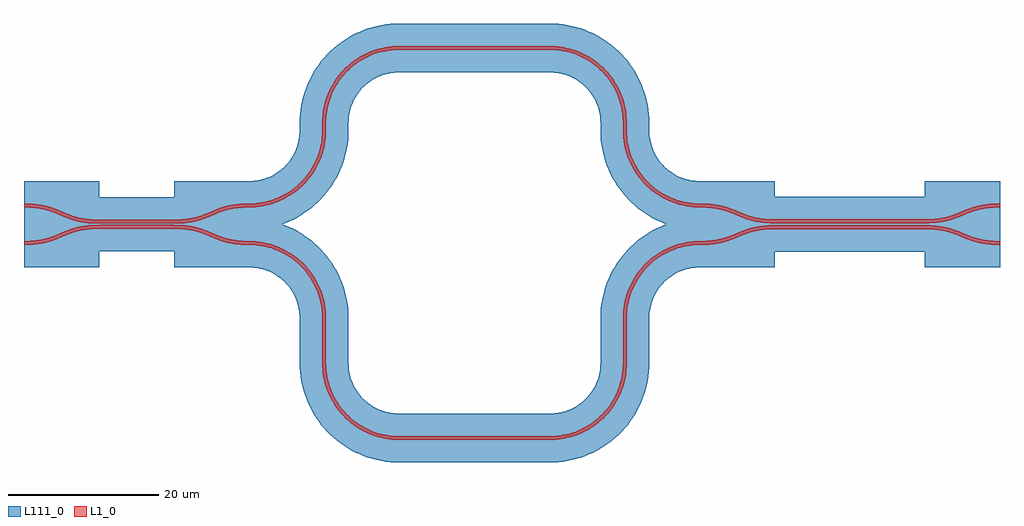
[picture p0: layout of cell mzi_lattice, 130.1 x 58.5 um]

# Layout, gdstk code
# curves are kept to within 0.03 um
import gdstk
lib = gdstk.Library(unit=1e-6, precision=1e-09)
def R(c, l, rs):  # rectangles x0, y0, x1, y1
    for r in rs: c.add(gdstk.rectangle(r[:2], r[2:], *l))
def P(c, l, *ps):  # polygons
    for p in ps: c.add(gdstk.Polygon(p, *l))
L1_0 = (1, 0)
L111_0 = (111, 0)

mzi_lattice = lib.new_cell('mzi_lattice')
R(mzi_lattice, L1_0, [(40,-28.15,60.1,-27.65), (29.75,-17.9,30.25,-12.9), (69.85,-17.9,70.35,-12.9), (29.75,-12.9,30.25,-11.9), (69.85,-12.9,70.35,-11.9), (90.1,-0.05,110.1,0.45), (0,0,10,0.5), (0,0.7,10,1.2), (90.1,0.75,110.1,1.25), (29.75,13.1,30.25,14.1), (69.85,13.1,70.35,14.1), (40,23.85,60.1,24.35)])
P(mzi_lattice, L1_0, [(110.1,1.25),(111.702,1.335),(113.054,1.582),(114.076,1.906),(116.288,2.783),(117.424,3.097),(118.691,3.288),(120.1,3.35),(120.1,2.85),(118.498,2.765),(117.146,2.518),(116.124,2.194),(113.912,1.317),(112.776,1.003),(111.509,0.812),(110.1,0.75)],
  [(110.1,-0.05),(111.702,-0.135),(113.054,-0.382),(114.076,-0.706),(116.288,-1.583),(117.424,-1.897),(118.691,-2.088),(120.1,-2.15),(120.1,-1.65),(118.498,-1.565),(117.146,-1.318),(116.124,-0.994),(113.912,-0.117),(112.776,0.197),(111.509,0.388),(110.1,0.45)],
  [(90.1,-0.05),(88.498,-0.135),(87.146,-0.382),(86.124,-0.706),(83.912,-1.583),(82.776,-1.897),(81.509,-2.088),(80.1,-2.15),(80.1,-1.65),(81.702,-1.565),(83.054,-1.318),(84.076,-0.994),(86.288,-0.117),(87.424,0.197),(88.691,0.388),(90.1,0.45)],
  [(90.1,1.25),(88.498,1.335),(87.146,1.582),(86.124,1.906),(83.912,2.783),(82.776,3.097),(81.509,3.288),(80.1,3.35),(80.1,2.85),(81.702,2.765),(83.054,2.518),(84.076,2.194),(86.288,1.317),(87.424,1.003),(88.691,0.812),(90.1,0.75)],
  [(29.75,13.1),(29.711,12.226),(29.593,11.359),(29.399,10.506),(29.128,9.674),(28.784,8.87),(28.37,8.099),(27.623,7.021),(27.047,6.362),(26.415,5.758),(25.731,5.212),(25.001,4.73),(24.23,4.316),(23.013,3.827),(22.17,3.594),(20.874,3.389),(20,3.35),(20,2.85),(20.919,2.891),(22.281,3.107),(23.167,3.352),(24.029,3.675),(24.857,4.074),(25.647,4.546),(26.391,5.086),(27.409,6.017),(28.014,6.709),(28.799,7.843),(29.425,9.071),(29.748,9.933),(29.993,10.819),(30.157,11.724),(30.25,13.1)],
  [(30.25,14.1),(30.289,14.974),(30.407,15.841),(30.601,16.694),(30.872,17.526),(31.216,18.33),(31.63,19.101),(32.377,20.179),(32.953,20.838),(33.585,21.442),(34.269,21.988),(34.999,22.47),(35.77,22.884),(36.987,23.373),(37.83,23.606),(39.126,23.811),(40,23.85),(40,24.35),(39.081,24.309),(37.719,24.093),(36.833,23.848),(35.971,23.525),(35.143,23.126),(34.353,22.654),(33.609,22.114),(32.591,21.183),(31.986,20.491),(31.201,19.357),(30.575,18.129),(30.252,17.267),(30.007,16.381),(29.843,15.476),(29.75,14.1)],
  [(60.1,23.85),(60.974,23.811),(61.841,23.693),(62.694,23.499),(63.526,23.228),(64.33,22.884),(65.101,22.47),(66.179,21.723),(66.838,21.147),(67.442,20.515),(67.988,19.831),(68.47,19.101),(68.884,18.33),(69.373,17.113),(69.606,16.27),(69.811,14.974),(69.85,14.1),(70.35,14.1),(70.309,15.019),(70.093,16.381),(69.848,17.267),(69.525,18.129),(69.126,18.957),(68.654,19.747),(68.114,20.491),(67.183,21.509),(66.491,22.114),(65.357,22.899),(64.129,23.525),(63.267,23.848),(62.381,24.093),(61.476,24.257),(60.1,24.35)],
  [(80.1,3.35),(79.226,3.389),(78.359,3.507),(77.506,3.701),(76.674,3.972),(75.87,4.316),(75.099,4.73),(74.021,5.477),(73.362,6.053),(72.758,6.685),(72.212,7.369),(71.73,8.099),(71.316,8.87),(70.827,10.087),(70.594,10.93),(70.389,12.226),(70.35,13.1),(69.85,13.1),(69.891,12.181),(70.107,10.819),(70.352,9.933),(70.675,9.071),(71.074,8.243),(71.546,7.453),(72.086,6.709),(73.017,5.691),(73.709,5.086),(74.843,4.301),(76.071,3.675),(76.933,3.352),(77.819,3.107),(78.724,2.943),(80.1,2.85)],
  [(20,-2.15),(20.874,-2.189),(21.741,-2.307),(22.594,-2.501),(23.426,-2.772),(24.23,-3.116),(25.001,-3.53),(26.079,-4.277),(26.738,-4.853),(27.342,-5.485),(27.888,-6.169),(28.37,-6.899),(28.784,-7.67),(29.273,-8.887),(29.506,-9.73),(29.711,-11.026),(29.75,-11.9),(30.25,-11.9),(30.209,-10.981),(29.993,-9.619),(29.748,-8.733),(29.425,-7.871),(29.026,-7.043),(28.554,-6.253),(28.014,-5.509),(27.083,-4.491),(26.391,-3.886),(25.257,-3.101),(24.029,-2.475),(23.167,-2.152),(22.281,-1.907),(21.376,-1.743),(20,-1.65)],
  [(40,-27.65),(39.126,-27.611),(38.259,-27.493),(37.406,-27.299),(36.574,-27.028),(35.77,-26.684),(34.999,-26.27),(33.921,-25.523),(33.262,-24.947),(32.658,-24.315),(32.112,-23.631),(31.63,-22.901),(31.216,-22.13),(30.727,-20.913),(30.494,-20.07),(30.289,-18.774),(30.25,-17.9),(29.75,-17.9),(29.791,-18.819),(30.007,-20.181),(30.252,-21.067),(30.575,-21.929),(30.974,-22.757),(31.446,-23.547),(31.986,-24.291),(32.917,-25.309),(33.609,-25.914),(34.743,-26.699),(35.971,-27.325),(36.833,-27.648),(37.719,-27.893),(38.624,-28.057),(40,-28.15)],
  [(69.85,-17.9),(69.811,-18.774),(69.693,-19.641),(69.499,-20.494),(69.228,-21.326),(68.884,-22.13),(68.47,-22.901),(67.723,-23.979),(67.147,-24.638),(66.515,-25.242),(65.831,-25.788),(65.101,-26.27),(64.33,-26.684),(63.113,-27.173),(62.27,-27.406),(60.974,-27.611),(60.1,-27.65),(60.1,-28.15),(61.019,-28.109),(62.381,-27.893),(63.267,-27.648),(64.129,-27.325),(64.957,-26.926),(65.747,-26.454),(66.491,-25.914),(67.509,-24.983),(68.114,-24.291),(68.899,-23.157),(69.525,-21.929),(69.848,-21.067),(70.093,-20.181),(70.257,-19.276),(70.35,-17.9)],
  [(70.35,-11.9),(70.389,-11.026),(70.507,-10.159),(70.701,-9.306),(70.972,-8.474),(71.316,-7.67),(71.73,-6.899),(72.477,-5.821),(73.053,-5.162),(73.685,-4.558),(74.369,-4.012),(75.099,-3.53),(75.87,-3.116),(77.087,-2.627),(77.93,-2.394),(79.226,-2.189),(80.1,-2.15),(80.1,-1.65),(79.181,-1.691),(77.819,-1.907),(76.933,-2.152),(76.071,-2.475),(75.243,-2.874),(74.453,-3.346),(73.709,-3.886),(72.691,-4.817),(72.086,-5.509),(71.301,-6.643),(70.675,-7.871),(70.352,-8.733),(70.107,-9.619),(69.943,-10.524),(69.85,-11.9)],
  [(0,0),(-1.601,-0.087),(-2.86,-0.316),(-3.894,-0.641),(-6.1,-1.539),(-7.428,-1.913),(-8.72,-2.098),(-10,-2.15),(-10,-1.65),(-8.399,-1.563),(-7.14,-1.334),(-6.106,-1.009),(-3.9,-0.111),(-2.572,0.263),(-1.28,0.448),(0,0.5)],
  [(0,1.2),(-1.601,1.287),(-2.86,1.516),(-3.894,1.841),(-6.1,2.739),(-7.428,3.113),(-8.72,3.298),(-10,3.35),(-10,2.85),(-8.399,2.763),(-7.14,2.534),(-6.106,2.209),(-3.9,1.311),(-2.572,0.937),(-1.28,0.752),(0,0.7)],
  [(10,1.2),(11.601,1.287),(12.86,1.516),(13.894,1.841),(16.1,2.739),(17.428,3.113),(18.72,3.298),(20,3.35),(20,2.85),(18.399,2.763),(17.14,2.534),(16.106,2.209),(13.9,1.311),(12.572,0.937),(11.28,0.752),(10,0.7)],
  [(10,0),(11.601,-0.087),(12.86,-0.316),(13.894,-0.641),(16.1,-1.539),(17.428,-1.913),(18.72,-2.098),(20,-2.15),(20,-1.65),(18.399,-1.563),(17.14,-1.334),(16.106,-1.009),(13.9,-0.111),(12.572,0.263),(11.28,0.448),(10,0.5)])
R(mzi_lattice, L111_0, [(40,-31.15,60.1,-24.65), (26.75,-17.9,33.25,-12.9), (66.85,-17.9,73.35,-12.9), (26.75,-12.9,33.25,-11.9), (66.85,-12.9,73.35,-11.9), (-10,-5.15,0,3.5), (10,-5.15,20,3.5), (80.1,-5.15,90.1,3.45), (110.1,-5.15,120.1,3.45), (90.1,-3.05,110.1,4.25), (0,-3,10,4.2), (-10,-2.3,0,6.35), (10,-2.3,20,6.35), (80.1,-2.25,90.1,6.35), (110.1,-2.25,120.1,6.35), (26.75,13.1,33.25,14.1), (66.85,13.1,73.35,14.1), (40,20.85,60.1,27.35)])
P(mzi_lattice, L111_0, [(26.75,13.1),(26.642,11.895),(26.32,10.728),(25.795,9.638),(25.461,9.132),(24.879,8.435),(23.968,7.639),(23.462,7.305),(22.653,6.893),(22.086,6.68),(21.205,6.458),(20,6.35),(20,-0.15),(21.779,-0.03),(23.525,0.327),(25.208,0.916),(26.796,1.726),(28.261,2.741),(29.577,3.943),(30.719,5.312),(31.668,6.821),(32.184,7.892),(32.773,9.575),(33.13,11.321),(33.25,13.1)],
  [(33.25,14.1),(33.358,15.305),(33.68,16.472),(34.205,17.562),(34.539,18.068),(35.121,18.765),(36.032,19.561),(36.538,19.895),(37.347,20.307),(37.914,20.52),(38.795,20.742),(40,20.85),(40,27.35),(38.221,27.23),(36.475,26.873),(34.792,26.284),(33.204,25.474),(31.739,24.459),(30.423,23.257),(29.281,21.888),(28.332,20.379),(27.816,19.308),(27.227,17.625),(26.87,15.879),(26.75,14.1)],
  [(60.1,20.85),(61.305,20.742),(62.472,20.42),(63.562,19.895),(64.068,19.561),(64.765,18.979),(65.561,18.068),(65.895,17.562),(66.307,16.753),(66.52,16.186),(66.742,15.305),(66.85,14.1),(73.35,14.1),(73.23,15.879),(72.873,17.625),(72.284,19.308),(71.474,20.896),(70.459,22.361),(69.257,23.677),(67.888,24.819),(66.379,25.768),(65.308,26.284),(63.625,26.873),(61.879,27.23),(60.1,27.35)],
  [(80.1,6.35),(78.895,6.458),(77.728,6.78),(76.638,7.305),(76.132,7.639),(75.435,8.221),(74.639,9.132),(74.305,9.638),(73.893,10.447),(73.68,11.014),(73.458,11.895),(73.35,13.1),(66.85,13.1),(66.97,11.321),(67.327,9.575),(67.916,7.892),(68.726,6.304),(69.741,4.839),(70.943,3.523),(72.312,2.381),(73.821,1.432),(74.892,0.916),(76.575,0.327),(78.321,-0.03),(80.1,-0.15)],
  [(20,-5.15),(21.205,-5.258),(22.372,-5.58),(23.462,-6.105),(23.968,-6.439),(24.665,-7.021),(25.461,-7.932),(25.795,-8.438),(26.207,-9.247),(26.42,-9.814),(26.642,-10.695),(26.75,-11.9),(33.25,-11.9),(33.13,-10.121),(32.773,-8.375),(32.184,-6.692),(31.374,-5.104),(30.359,-3.639),(29.157,-2.323),(27.788,-1.181),(26.279,-0.232),(25.208,0.284),(23.525,0.873),(21.779,1.23),(20,1.35)],
  [(40,-24.65),(38.795,-24.542),(37.628,-24.22),(36.538,-23.695),(36.032,-23.361),(35.335,-22.779),(34.539,-21.868),(34.205,-21.362),(33.793,-20.553),(33.58,-19.986),(33.358,-19.105),(33.25,-17.9),(26.75,-17.9),(26.87,-19.679),(27.227,-21.425),(27.816,-23.108),(28.626,-24.696),(29.641,-26.161),(30.843,-27.477),(32.212,-28.619),(33.721,-29.568),(34.792,-30.084),(36.475,-30.673),(38.221,-31.03),(40,-31.15)],
  [(66.85,-17.9),(66.742,-19.105),(66.42,-20.272),(65.895,-21.362),(65.561,-21.868),(64.979,-22.565),(64.068,-23.361),(63.562,-23.695),(62.753,-24.107),(62.186,-24.32),(61.305,-24.542),(60.1,-24.65),(60.1,-31.15),(61.879,-31.03),(63.625,-30.673),(65.308,-30.084),(66.896,-29.274),(68.361,-28.259),(69.677,-27.057),(70.819,-25.688),(71.768,-24.179),(72.284,-23.108),(72.873,-21.425),(73.23,-19.679),(73.35,-17.9)],
  [(73.35,-11.9),(73.458,-10.695),(73.78,-9.528),(74.305,-8.438),(74.639,-7.932),(75.221,-7.235),(76.132,-6.439),(76.638,-6.105),(77.447,-5.693),(78.014,-5.48),(78.895,-5.258),(80.1,-5.15),(80.1,1.35),(78.321,1.23),(76.575,0.873),(74.892,0.284),(73.304,-0.526),(71.839,-1.541),(70.523,-2.743),(69.381,-4.112),(68.432,-5.621),(67.916,-6.692),(67.327,-8.375),(66.97,-10.121),(66.85,-11.9)])

lib.write_gds('mzi_lattice.gds')
